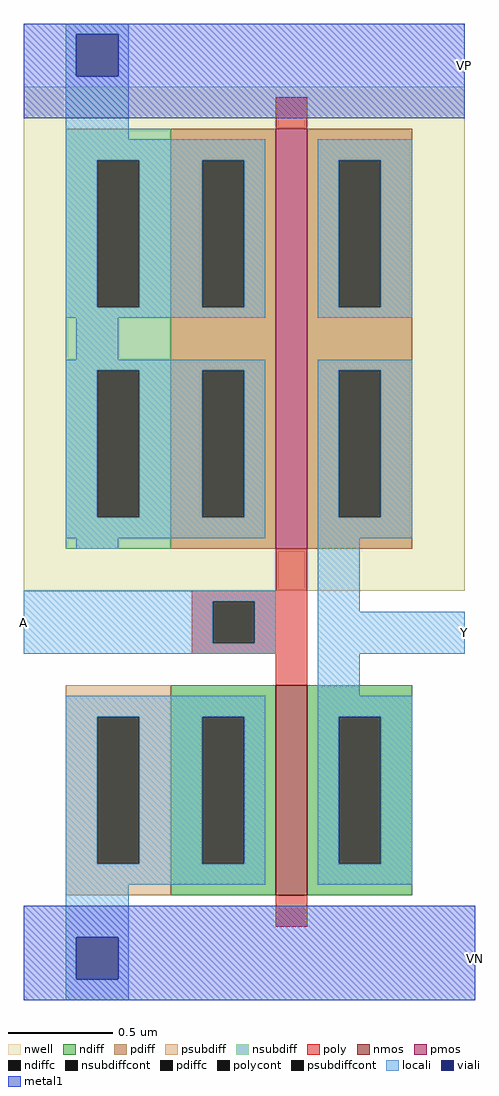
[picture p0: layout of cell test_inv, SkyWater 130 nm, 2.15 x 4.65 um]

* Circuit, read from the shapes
.subckt test_inv A Y VP VN
XM1 Y A VN VN sky130_fd_pr__nfet_01v8 w=1 l=0.15
XM2 Y A VP VP sky130_fd_pr__pfet_01v8 w=2 l=0.15
.ends

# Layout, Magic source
magic
tech sky130A
<< nwell >>
rect -120 140 90 380
<< nmos >>
rect 0 -5 15 95
<< pmos >>
rect 0 160 15 360
<< ndiff >>
rect -50 80 0 95
rect -50 10 -35 80
rect -15 10 0 80
rect -50 -5 0 10
rect 15 80 65 95
rect 15 10 30 80
rect 50 10 65 80
rect 15 -5 65 10
<< pdiff >>
rect -50 345 0 360
rect -50 275 -35 345
rect -15 275 0 345
rect -50 245 0 275
rect -50 175 -35 245
rect -15 175 0 245
rect -50 160 0 175
rect 15 345 65 360
rect 15 275 30 345
rect 50 275 65 345
rect 15 245 65 275
rect 15 175 30 245
rect 50 175 65 245
rect 15 160 65 175
<< ndiffc >>
rect -35 10 -15 80
rect 30 10 50 80
<< pdiffc >>
rect -35 275 -15 345
rect -35 175 -15 245
rect 30 275 50 345
rect 30 175 50 245
<< psubdiff >>
rect -100 80 -50 95
rect -100 10 -85 80
rect -65 10 -50 80
rect -100 -5 -50 10
<< nsubdiff >>
rect -100 345 -50 360
rect -100 275 -85 345
rect -65 275 -50 345
rect -100 245 -50 275
rect -100 175 -85 245
rect -65 175 -50 245
rect -100 160 -50 175
<< psubdiffcont >>
rect -85 10 -65 80
<< nsubdiffcont >>
rect -85 275 -65 345
rect -85 175 -65 245
<< poly >>
rect 0 360 15 375
rect 0 140 15 160
rect -40 135 15 140
rect -40 115 -30 135
rect -10 115 15 135
rect -40 110 15 115
rect 0 95 15 110
rect 0 -20 15 -5
<< polycont >>
rect -30 115 -10 135
<< locali >>
rect -100 405 -70 410
rect -100 385 -95 405
rect -75 385 -70 405
rect -100 355 -70 385
rect -100 345 -5 355
rect -100 275 -85 345
rect -65 275 -35 345
rect -15 275 -5 345
rect -100 270 -5 275
rect 20 345 65 355
rect 20 275 30 345
rect 50 275 65 345
rect 20 270 65 275
rect -95 250 -75 270
rect -100 245 -5 250
rect -100 175 -85 245
rect -65 175 -35 245
rect -15 175 -5 245
rect -100 165 -5 175
rect 20 245 65 250
rect 20 175 30 245
rect 50 175 65 245
rect 20 165 65 175
rect -95 160 -75 165
rect -120 135 0 140
rect -120 115 -30 135
rect -10 115 0 135
rect -120 110 0 115
rect 20 130 40 165
rect 20 110 90 130
rect 20 90 40 110
rect -100 80 -5 90
rect -100 10 -85 80
rect -65 10 -35 80
rect -15 10 -5 80
rect -100 0 -5 10
rect 20 80 65 90
rect 20 10 30 80
rect 50 10 65 80
rect 20 0 65 10
rect -100 -25 -70 0
rect -100 -45 -95 -25
rect -75 -45 -70 -25
rect -100 -55 -70 -45
<< viali >>
rect -95 385 -75 405
rect -95 -45 -75 -25
<< metal1 >>
rect -120 405 90 410
rect -120 385 -95 405
rect -75 385 90 405
rect -120 365 90 385
rect -120 -25 95 -10
rect -120 -45 -95 -25
rect -75 -45 95 -25
rect -120 -55 95 -45
<< labels >>
flabel metal1 95 -35 95 -35 7 FreeSans 400 0 0 0 VN
port 4 w
flabel locali 90 120 90 120 1 FreeSans 240 0 0 0 Y
port 2 n
flabel locali -120 125 -120 125 3 FreeSans 240 0 0 0 A
port 1 e
flabel metal1 90 390 90 390 1 FreeSans 400 0 0 0 VP
port 3 n
<< end >>
